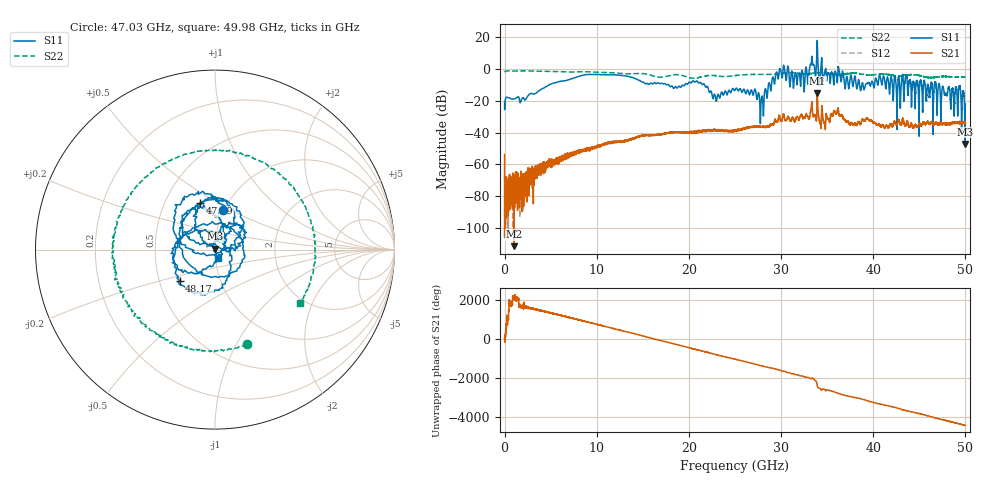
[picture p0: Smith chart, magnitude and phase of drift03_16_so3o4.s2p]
!Created with skrf (http://scikit-rf.org).
# Hz S RI R 50.0
!freq ReS11 ImS11 ReS21 ImS21 ReS12 ImS12 ReS22 ImS22
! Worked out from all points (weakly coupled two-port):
!   10001 points, 300 kHz to 50 GHz, reference 50 ohm
!   highest |S21| = -15.14 dB at 33.92 GHz (marker M1); lowest = -111.2 dB at 1.015 GHz (marker M2)
!   lowest |S11| = -47.2 dB at 49.95 GHz (marker M3), VSWR 1.01, Z = 50 + j0.436 ohm
!   |S11| at or under -10 dB: start of sweep to 4.85 GHz; 21.69 GHz to 28.62 GHz (6.933 GHz wide, 27.6 % of centre); 47.18 GHz to end of sweep (the widest 3 of 45)
!   |S22| runs from -5.9 to -1.3 dB; largest |S21 - S12| = 0.019
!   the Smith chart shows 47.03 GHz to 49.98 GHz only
!   S11 on the Smith chart (normalised r, x): 47.03 GHz: 0.99, +0.46; 47.59 GHz: 0.75, +0.42; 48.17 GHz: 0.64, -0.24; 49.98 GHz: 1.03, -0.10
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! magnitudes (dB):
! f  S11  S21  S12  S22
! 300 kHz  -21.2  -53.7  -67.1  -2.1
! 255.3 MHz  -17.9  -73.1  -74.7  -1.4
! 1.015 GHz  -19.0  -111.2  -76.7  -1.5
! 8.335 GHz  -4.3  -51.1  -51.4  -1.9
! 16.67 GHz  -8.8  -41.5  -41.5  -5.2
! 21.01 GHz  -8.8  -39.3  -39.2  -5.6
! 22.81 GHz  -16.1  -38.5  -38.4  -4.2
! 25 GHz  -13.4  -38.5  -39.0  -4.3
! 27.02 GHz  -15.8  -36.5  -36.2  -3.5
! 27.92 GHz  -17.1  -36.5  -36.3  -3.5
! 29.69 GHz  -6.5  -32.1  -31.7  -3.1
! 32.32 GHz  -1.5  -30.4  -30.6  -3.2
! 33.34 GHz  7.8  -20.7  -20.9  -2.9
! 33.92 GHz  17.7  -15.1  -15.5  -2.5
! 38.81 GHz  -8.8  -31.8  -31.8  -3.4
! 41.67 GHz  -9.1  -37.0  -36.7  -3.6
! 47.03 GHz  -13.0  -35.2  -34.5  -5.1
! 47.59 GHz  -11.3  -35.1  -34.3  -4.8
! 48.17 GHz  -11.6  -34.2  -34.1  -4.9
! 49.95 GHz  -47.2  -33.6  -33.9  -5.0
! 49.98 GHz  -25.9  -34.2  -33.7  -5.1
! 50 GHz  -22.1  -34.3  -33.8  -5.0
